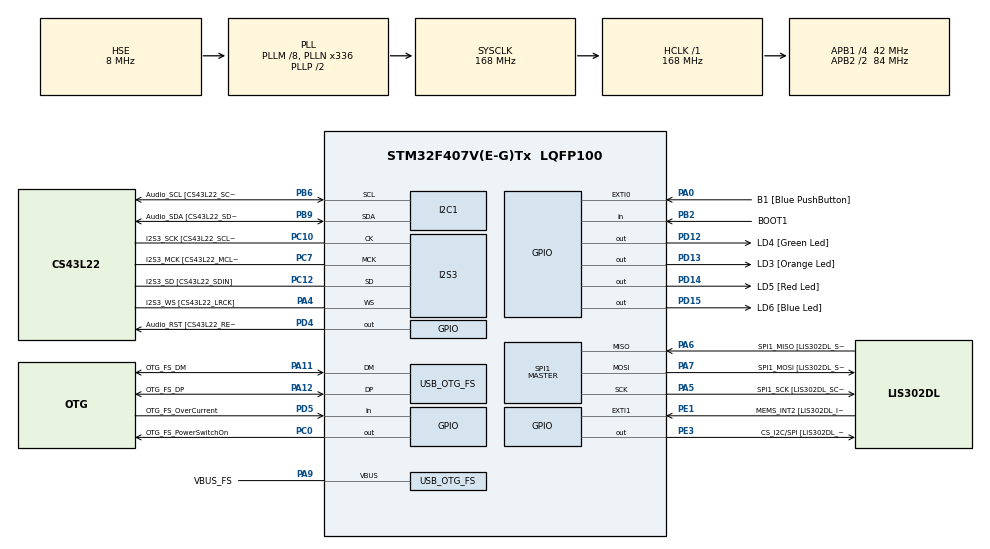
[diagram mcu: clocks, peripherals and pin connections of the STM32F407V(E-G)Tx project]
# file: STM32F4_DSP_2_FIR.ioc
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Dma.Request0=SPI3_TX
Dma.SPI3_TX.0.Direction=DMA_MEMORY_TO_PERIPH
Dma.SPI3_TX.0.FIFOMode=DMA_FIFOMODE_DISABLE
Dma.SPI3_TX.0.Instance=DMA1_Stream5
Dma.SPI3_TX.0.MemDataAlignment=DMA_MDATAALIGN_HALFWORD
Dma.SPI3_TX.0.MemInc=DMA_MINC_ENABLE
Dma.SPI3_TX.0.Mode=DMA_NORMAL
Dma.SPI3_TX.0.PeriphDataAlignment=DMA_PDATAALIGN_HALFWORD
Dma.SPI3_TX.0.PeriphInc=DMA_PINC_DISABLE
Dma.SPI3_TX.0.Priority=DMA_PRIORITY_HIGH
I2S3.AudioFreq-Half_Duplex_Master=I2S_AUDIOFREQ_96K
I2S3.ErrorAudioFreq=-2.34 %
I2S3.ErrorAudioFreq-Half_Duplex_Master=0.8 %
I2S3.FullDuplexMode=I2S_FULLDUPLEXMODE_DISABLE
I2S3.Instance=SPI$Index
I2S3.RealAudioFreq=93.75 KHz
I2S3.RealAudioFreq-Half_Duplex_Master=96.774 KHz
I2S3.VirtualMode=I2S_MODE_MASTER
Mcu.Family=STM32F4
Mcu.Name=STM32F407V(E-G)Tx
Mcu.Package=LQFP100
NVIC.DMA1_Stream5_IRQn=true\:0\:0\:false\:false\:true\:false\:true\:true
NVIC.OTG_FS_IRQn=true\:0\:0\:false\:false\:true\:true\:true\:true
NVIC.PriorityGroup=NVIC_PRIORITYGROUP_0
PA0-WKUP.GPIO_Label=B1 [Blue PushButton]
PA0-WKUP.GPIO_ModeDefaultEXTI=GPIO_MODE_EVT_RISING
PA0-WKUP.GPIO_PuPd=GPIO_NOPULL
PA0-WKUP.Signal=GPXTI0
PA10.GPIO_Label=OTG_FS_ID
PA10.GPIO_Mode=GPIO_MODE_AF_PP
PA10.GPIO_PuPd=GPIO_NOPULL
PA10.GPIO_Speed=GPIO_SPEED_FREQ_LOW
PA10.Signal=USB_OTG_FS_ID
PA11.GPIO_Label=OTG_FS_DM
PA11.GPIO_Mode=GPIO_MODE_AF_PP
PA11.GPIO_PuPd=GPIO_NOPULL
PA11.GPIO_Speed=GPIO_SPEED_FREQ_LOW
PA11.Mode=Host_Only
PA11.Signal=USB_OTG_FS_DM
PA12.GPIO_Label=OTG_FS_DP
PA12.GPIO_Mode=GPIO_MODE_AF_PP
PA12.GPIO_PuPd=GPIO_NOPULL
PA12.GPIO_Speed=GPIO_SPEED_FREQ_LOW
PA12.Mode=Host_Only
PA12.Signal=USB_OTG_FS_DP
PA13.GPIO_Label=SWDIO
PA13.Mode=Serial_Wire
PA13.Signal=SYS_JTMS-SWDIO
PA14.GPIO_Label=SWCLK
PA14.Mode=Serial_Wire
PA14.Signal=SYS_JTCK-SWCLK
PA4.GPIO_Label=I2S3_WS [CS43L22_LRCK]
PA4.GPIO_Mode=GPIO_MODE_AF_PP
PA4.GPIO_PuPd=GPIO_NOPULL
PA4.GPIO_Speed=GPIO_SPEED_FREQ_LOW
PA4.Mode=Half_Duplex_Master
PA4.Signal=I2S3_WS
PA5.GPIO_Label=SPI1_SCK [LIS302DL_SCL/SPC]
PA5.GPIO_Mode=GPIO_MODE_AF_PP
PA5.GPIO_PuPd=GPIO_NOPULL
PA5.GPIO_Speed=GPIO_SPEED_FREQ_LOW
PA5.Mode=Full_Duplex_Master
PA5.Signal=SPI1_SCK
PA6.GPIO_Label=SPI1_MISO [LIS302DL_SDO]
PA6.GPIO_Mode=GPIO_MODE_AF_PP
PA6.GPIO_PuPd=GPIO_NOPULL
PA6.GPIO_Speed=GPIO_SPEED_FREQ_LOW
PA6.Mode=Full_Duplex_Master
PA6.Signal=SPI1_MISO
PA7.GPIO_Label=SPI1_MOSI [LIS302DL_SDA/SDI/SDO]
PA7.GPIO_Mode=GPIO_MODE_AF_PP
PA7.GPIO_PuPd=GPIO_NOPULL
PA7.GPIO_Speed=GPIO_SPEED_FREQ_LOW
PA7.Mode=Full_Duplex_Master
PA7.Signal=SPI1_MOSI
PA9.GPIO_Label=VBUS_FS
PA9.GPIO_Mode=GPIO_MODE_INPUT
PA9.GPIO_PuPd=GPIO_NOPULL
PA9.Mode=Activate_VBUS
PA9.Signal=USB_OTG_FS_VBUS
PB10.GPIO_Label=CLK_IN [MP45DT02_CLK]
PB10.GPIO_Mode=GPIO_MODE_AF_PP
PB10.GPIO_PuPd=GPIO_NOPULL
PB10.GPIO_Speed=GPIO_SPEED_FREQ_LOW
PB10.Signal=I2S2_CK
PB2.GPIO_Label=BOOT1
PB2.GPIO_Mode=GPIO_MODE_INPUT
PB2.GPIO_PuPd=GPIO_NOPULL
PB2.Signal=GPIO_Input
PB3.GPIO_Label=SWO
PB3.Signal=SYS_JTDO-SWO
PB6.GPIO_Label=Audio_SCL [CS43L22_SCL]
PB6.GPIO_Mode=GPIO_MODE_AF_OD
PB6.GPIO_Pu=GPIO_PULLUP
PB6.GPIO_PuPd=GPIO_NOPULL
PB6.GPIO_Speed=GPIO_SPEED_FREQ_LOW
PB6.Mode=I2C
PB6.Signal=I2C1_SCL
PB9.GPIO_Label=Audio_SDA [CS43L22_SDA]
PB9.GPIO_Mode=GPIO_MODE_AF_OD
PB9.GPIO_Pu=GPIO_PULLUP
PB9.GPIO_PuPd=GPIO_NOPULL
PB9.GPIO_Speed=GPIO_SPEED_FREQ_LOW
PB9.Mode=I2C
PB9.Signal=I2C1_SDA
PC0.GPIO_Label=OTG_FS_PowerSwitchOn
PC0.GPIO_PuPd=GPIO_NOPULL
PC0.GPIO_Speed=GPIO_SPEED_FREQ_LOW
PC0.PinState=GPIO_PIN_SET
PC0.Signal=GPIO_Output
PC10.GPIO_Label=I2S3_SCK [CS43L22_SCLK]
PC10.GPIO_Mode=GPIO_MODE_AF_PP
PC10.GPIO_PuPd=GPIO_NOPULL
PC10.GPIO_Speed=GPIO_SPEED_FREQ_LOW
PC10.Mode=Half_Duplex_Master
PC10.Signal=I2S3_CK
PC12.GPIO_Label=I2S3_SD [CS43L22_SDIN]
PC12.GPIO_Mode=GPIO_MODE_AF_PP
PC12.GPIO_PuPd=GPIO_NOPULL
PC12.GPIO_Speed=GPIO_SPEED_FREQ_LOW
PC12.Mode=Half_Duplex_Master
PC12.Signal=I2S3_SD
PC14-OSC32_IN.GPIO_Label=PC14-OSC32_IN
PC14-OSC32_IN.Mode=LSE-External-Oscillator
PC14-OSC32_IN.Signal=RCC_OSC32_IN
PC15-OSC32_OUT.GPIO_Label=PC15-OSC32_OUT
PC15-OSC32_OUT.Mode=LSE-External-Oscillator
PC15-OSC32_OUT.Signal=RCC_OSC32_OUT
PC3.GPIO_Label=PDM_OUT [MP45DT02_DOUT]
PC3.GPIO_Mode=GPIO_MODE_AF_PP
PC3.GPIO_PuPd=GPIO_NOPULL
PC3.GPIO_Speed=GPIO_SPEED_FREQ_LOW
PC3.Signal=I2S2_SD
PC7.GPIO_Label=I2S3_MCK [CS43L22_MCLK]
PC7.GPIO_Mode=GPIO_MODE_AF_PP
PC7.GPIO_PuPd=GPIO_NOPULL
PC7.GPIO_Speed=GPIO_SPEED_FREQ_LOW
PC7.Mode=Master_Clock_Activated
PC7.Signal=I2S3_MCK
PD12.GPIO_Label=LD4 [Green Led]
PD12.GPIO_PuPd=GPIO_NOPULL
PD12.GPIO_Speed=GPIO_SPEED_FREQ_LOW
PD12.Signal=GPIO_Output
PD13.GPIO_Label=LD3 [Orange Led]
PD13.GPIO_PuPd=GPIO_NOPULL
PD13.GPIO_Speed=GPIO_SPEED_FREQ_LOW
PD13.Signal=GPIO_Output
PD14.GPIO_Label=LD5 [Red Led]
PD14.GPIO_PuPd=GPIO_NOPULL
PD14.GPIO_Speed=GPIO_SPEED_FREQ_LOW
PD14.Signal=GPIO_Output
PD15.GPIO_Label=LD6 [Blue Led]
PD15.GPIO_PuPd=GPIO_NOPULL
PD15.GPIO_Speed=GPIO_SPEED_FREQ_LOW
PD15.Signal=GPIO_Output
PD4.GPIO_Label=Audio_RST [CS43L22_RESET]
PD4.GPIO_PuPd=GPIO_NOPULL
PD4.GPIO_Speed=GPIO_SPEED_FREQ_LOW
PD4.Signal=GPIO_Output
PD5.GPIO_Label=OTG_FS_OverCurrent
PD5.GPIO_Mode=GPIO_MODE_INPUT
PD5.GPIO_PuPd=GPIO_NOPULL
PD5.Signal=GPIO_Input
PE1.GPIO_Label=MEMS_INT2 [LIS302DL_INT2]
PE1.GPIO_ModeDefaultEXTI=GPIO_MODE_EVT_RISING
PE1.GPIO_PuPd=GPIO_NOPULL
PE1.Signal=GPXTI1
PE3.GPIO_Label=CS_I2C/SPI [LIS302DL_CS_I2C/SPI]
PE3.GPIO_PuPd=GPIO_NOPULL
PE3.GPIO_Speed=GPIO_SPEED_FREQ_LOW
PE3.Signal=GPIO_Output
PH0-OSC_IN.GPIO_Label=PH0-OSC_IN
PH0-OSC_IN.Mode=HSE-External-Oscillator
PH0-OSC_IN.Signal=RCC_OSC_IN
PH1-OSC_OUT.GPIO_Label=PH1-OSC_OUT
PH1-OSC_OUT.Mode=HSE-External-Oscillator
PH1-OSC_OUT.Signal=RCC_OSC_OUT
ProjectManager.HeapSize=0x200
ProjectManager.StackSize=0x400
ProjectManager.TargetToolchain=STM32CubeIDE
RCC.48MHZClocksFreq_Value=48000000
RCC.AHBFreq_Value=168000000
RCC.APB1CLKDivider=RCC_HCLK_DIV4
RCC.APB1Freq_Value=42000000
RCC.APB1TimFreq_Value=84000000
RCC.APB2CLKDivider=RCC_HCLK_DIV2
RCC.APB2Freq_Value=84000000
RCC.APB2TimFreq_Value=168000000
RCC.CortexFreq_Value=168000000
RCC.HCLKFreq_Value=168000000
RCC.HSE_VALUE=8000000
RCC.HSI_VALUE=16000000
RCC.PLLM=8
RCC.PLLN=336
RCC.PLLQ=7
RCC.SYSCLKFreq_VALUE=168000000
RCC.SYSCLKSource=RCC_SYSCLKSOURCE_PLLCLK
RCC.VCOOutputFreq_Value=336000000
SPI1.BaudRatePrescaler-Full_Duplex_Master=SPI_BAUDRATEPRESCALER_2
SPI1.CalculateBaudRate-Full_Duplex_Master=42.0 MBits/s
SPI1.Direction=SPI_DIRECTION_2LINES
SPI1.Mode=SPI_MODE_MASTER
SPI1.Mode-Full_Duplex_Master=SPI_MODE_MASTER
SPI1.VirtualType=VM_MASTER
USB_HOST.BSP.number=1
USB_HOST.USBH_HandleTypeDef-CDC_FS=hUsbHostFS
USB_HOST.VirtualModeFS=Cdc
USB_HOST0.BSP.STBoard=false
USB_HOST0.BSP.api=Unknown
USB_HOST0.BSP.instance=PC0
USB_HOST0.BSP.ip=GPIO
USB_HOST0.BSP.mode=Output
USB_HOST0.BSP.name=Drive_VBUS_FS
USB_HOST0.BSP.solution=PC0
USB_OTG_FS.VirtualMode=Host_Only
USB_OTG_FS.phy_itface=HCD_PHY_EMBEDDED
VP_USB_HOST_VS_USB_HOST_CDC_FS.Mode=CDC_FS
board=STM32F407G-DISC1

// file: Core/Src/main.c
/* USER CODE BEGIN Header */
/**
  ******************************************************************************
  * @file           : main.c
  * @brief          : Main program body
  ******************************************************************************
  * @attention
  *
  * Copyright (c) 2023 STMicroelectronics.
  * All rights reserved.
  *
  * This software is licensed under terms that can be found in the LICENSE file
  * in the root directory of this software component.
  * If no LICENSE file comes with this software, it is provided AS-IS.
  *
  ******************************************************************************
  */
/* USER CODE END Header */
#include "main.h"
#include "usb_host.h"

/* USER CODE BEGIN Includes */
#include "stm32f4_discovery_audio.h"
#include "arm_math.h"

/* USER CODE END Includes */

/* USER CODE BEGIN PD */
#define SAMPLING_FREQ 48000.0		//BSP_audio_out sampling frequency

	//--- FIR related PD ---
#define TEST_LENGTH_SAMPLES	1024	//Test signal length
									//Turi dalintis is BLOCK_SIZE!
#define BLOCK_SIZE		32			//Block size/per one cycle
#define NUM_TAPS		29			//Filtro eile
	//--- FIR related PD END ---

/* USER CODE END PD */

I2C_HandleTypeDef hi2c1;

I2S_HandleTypeDef hi2s3;
DMA_HandleTypeDef hdma_spi3_tx;

SPI_HandleTypeDef hspi1;

/* USER CODE BEGIN PV */
static int16_t OutputBuffer[TEST_LENGTH_SAMPLES*2];			//Output Buffer, left+right channels

//--- FIR related PV ---
static float32_t *inputF32, *outputF32;
static float32_t testInput_f32[TEST_LENGTH_SAMPLES];		//FIR input signal buffer
static float32_t testOutput_f32[TEST_LENGTH_SAMPLES];		//FIR output signal buffer
static float32_t firStateF32[BLOCK_SIZE + NUM_TAPS -1];		//State buffer

const float32_t firCoeffs32[NUM_TAPS] = {
  -0.0018225230f, -0.0015879294f, +0.0000000000f, +0.0036977508f, +0.0080754303f, +0.0085302217f, -0.0000000000f, -0.0173976984f,
  -0.0341458607f, -0.0333591565f, +0.0000000000f, +0.0676308395f, +0.1522061835f, +0.2229246956f, +0.2504960933f, +0.2229246956f,
  +0.1522061835f, +0.0676308395f, +0.0000000000f, -0.0333591565f, -0.0341458607f, -0.0173976984f, -0.0000000000f, +0.0085302217f,
  +0.0080754303f, +0.0036977508f, +0.0000000000f, -0.0015879294f, -0.0018225230f
};

uint32_t blockSize = BLOCK_SIZE;
uint32_t numBlocks = TEST_LENGTH_SAMPLES/BLOCK_SIZE;
	//--- FIR related PV END ---

/* USER CODE END PV */

void SystemClock_Config(void);
static void MX_GPIO_Init(void);
static void MX_DMA_Init(void);
static void MX_I2C1_Init(void);
static void MX_I2S3_Init(void);
static void MX_SPI1_Init(void);
void MX_USB_HOST_Process(void);

/* USER CODE BEGIN 0 */

void MovingAverage_filter(float *inputArray, uint32_t inputSize, uint32_t window, float *outputArray)
{
	float Acc = 0; //Accumulator to sum
	for(uint32_t i = 0; i < inputSize; i++)
	{
		//Add new sample to Acc
		Acc += inputArray[i];
		//Substract oldest sample
		if(i >= window)
			Acc -= inputArray[i - window];
		//Calculate output sample
		outputArray[i] = Acc / window;
	}
}

// White noise generator for noise testing
float scaled_rand(void)
{
    static int32_t a = 100001;
    a = (a * 125) % 2796203;

    // Scale the output to the desired range [-30000*0.25, 30000*0.25]
    float scaled_output = ((float)(a % 60001) - 30000.0) * 0.1;
    return scaled_output;
}

/* USER CODE END 0 */

int main(void)
{
  /* USER CODE BEGIN 1 */
		//--- FIR variables ---
		arm_fir_instance_f32 FiltrasStruct;

		//Initialize input and output buffer pointers
		inputF32 = &testInput_f32[0];
		outputF32 = &testOutput_f32[0];

		//Call FIR init function to initialize the instance structure
		//arm_fir_init_f32(&FiltrasStruct, NUM_TAPS, (float32_t *)&firCoeffs32[0], &firStateF32[0], blockSize);

  /* USER CODE END 1 */

  /* MCU Configuration--------------------------------------------------------*/

  /* Reset of all peripherals, Initializes the Flash interface and the Systick. */
  HAL_Init();

  /* Configure the system clock */
  SystemClock_Config();

  /* Initialize all configured peripherals */
  MX_GPIO_Init();
  MX_DMA_Init();
  MX_I2C1_Init();
  MX_I2S3_Init();
  MX_SPI1_Init();
  MX_USB_HOST_Init();
  /* USER CODE BEGIN 2 */
  	  //Test - GreenLED On
  	  	HAL_GPIO_WritePin(LD4_GPIO_Port, LD4_Pin, GPIO_PIN_SET);

  	  /*** Initialize the Audio codec and all related peripherals (I2S, I2C, IOExpander, IOs...) ***/
        if(BSP_AUDIO_OUT_Init(OUTPUT_DEVICE_AUTO, 80, SAMPLING_FREQ) != AUDIO_OK)
        {
        	Error_Handler();
        }

      /*** Test Signal generation ***/
        for(int index = 0; index < TEST_LENGTH_SAMPLES; index++)
        {
          // sin - 1kHz + 5kHz + 10 kHz
      	  //testInput_f32[index] = ( 30000*sin(21*2*PI*index/TEST_LENGTH_SAMPLES) + 20000*sin(109*2*PI*index/TEST_LENGTH_SAMPLES) + 15000*sin(220*2*PI*index/TEST_LENGTH_SAMPLES) );

      	 // square signal
      	 if (index < TEST_LENGTH_SAMPLES/2) {
      	  	testInput_f32[index] = -30000 + scaled_rand();
      	 } else {
      		testInput_f32[index] = 30000 + scaled_rand();
      	 }

        }

      //Call the FIR process function for every blockSize samples
//        for(int i=0; i<numBlocks; i++)
//        {
//      	  arm_fir_f32(&FiltrasStruct, inputF32 + (i * blockSize), outputF32 + (i * blockSize), blockSize);
//        }

        //Test MA filter
        MovingAverage_filter(testInput_f32, TEST_LENGTH_SAMPLES, 10, testOutput_f32);

      /*** Fill Output Buffer ***/
        for(int i = 0; i < TEST_LENGTH_SAMPLES; i++)
        {
      	  //OutputBuffer[i<<1] = (int16_t)testInput_f32[i];			//Left channel - test signal
      	  OutputBuffer[(i<<1)+1] = (int16_t)testOutput_f32[i];		//Right channel - after FIR
        }

      /*** Start Audio play ***/
        BSP_AUDIO_OUT_Play((uint16_t*)&OutputBuffer[0], TEST_LENGTH_SAMPLES*2);

        //GreenLED Off
        HAL_GPIO_WritePin(LD4_GPIO_Port, LD4_Pin, GPIO_PIN_RESET);

  /* USER CODE END 2 */
  /* USER CODE BEGIN WHILE */
  while (1)
  {
	  HAL_GPIO_TogglePin(LD4_GPIO_Port, LD4_Pin);
	  HAL_Delay(250);

    /* USER CODE END WHILE */
    MX_USB_HOST_Process();

  }
}

void SystemClock_Config(void)
{
  RCC_OscInitTypeDef RCC_OscInitStruct = {0};
  RCC_ClkInitTypeDef RCC_ClkInitStruct = {0};

  /** Configure the main internal regulator output voltage
  */
  __HAL_RCC_PWR_CLK_ENABLE();
  __HAL_PWR_VOLTAGESCALING_CONFIG(PWR_REGULATOR_VOLTAGE_SCALE1);

  /** Initializes the RCC Oscillators according to the specified parameters
  * in the RCC_OscInitTypeDef structure.
  */
  RCC_OscInitStruct.OscillatorType = RCC_OSCILLATORTYPE_HSE;
  RCC_OscInitStruct.HSEState = RCC_HSE_ON;
  RCC_OscInitStruct.PLL.PLLState = RCC_PLL_ON;
  RCC_OscInitStruct.PLL.PLLSource = RCC_PLLSOURCE_HSE;
  RCC_OscInitStruct.PLL.PLLM = 8;
  RCC_OscInitStruct.PLL.PLLN = 336;
  RCC_OscInitStruct.PLL.PLLP = RCC_PLLP_DIV2;
  RCC_OscInitStruct.PLL.PLLQ = 7;
  if (HAL_RCC_OscConfig(&RCC_OscInitStruct) != HAL_OK)
  {
    Error_Handler();
  }

  /** Initializes the CPU, AHB and APB buses clocks
  */
  RCC_ClkInitStruct.ClockType = RCC_CLOCKTYPE_HCLK|RCC_CLOCKTYPE_SYSCLK
                              |RCC_CLOCKTYPE_PCLK1|RCC_CLOCKTYPE_PCLK2;
  RCC_ClkInitStruct.SYSCLKSource = RCC_SYSCLKSOURCE_PLLCLK;
  RCC_ClkInitStruct.AHBCLKDivider = RCC_SYSCLK_DIV1;
  RCC_ClkInitStruct.APB1CLKDivider = RCC_HCLK_DIV4;
  RCC_ClkInitStruct.APB2CLKDivider = RCC_HCLK_DIV2;

  if (HAL_RCC_ClockConfig(&RCC_ClkInitStruct, FLASH_LATENCY_5) != HAL_OK)
  {
    Error_Handler();
  }
}

static void MX_I2C1_Init(void)
{

  hi2c1.Instance = I2C1;
  hi2c1.Init.ClockSpeed = 100000;
  hi2c1.Init.DutyCycle = I2C_DUTYCYCLE_2;
  hi2c1.Init.OwnAddress1 = 0;
  hi2c1.Init.AddressingMode = I2C_ADDRESSINGMODE_7BIT;
  hi2c1.Init.DualAddressMode = I2C_DUALADDRESS_DISABLE;
  hi2c1.Init.OwnAddress2 = 0;
  hi2c1.Init.GeneralCallMode = I2C_GENERALCALL_DISABLE;
  hi2c1.Init.NoStretchMode = I2C_NOSTRETCH_DISABLE;
  if (HAL_I2C_Init(&hi2c1) != HAL_OK)
  {
    Error_Handler();
  }

}

static void MX_I2S3_Init(void)
{

  hi2s3.Instance = SPI3;
  hi2s3.Init.Mode = I2S_MODE_MASTER_TX;
  hi2s3.Init.Standard = I2S_STANDARD_PHILIPS;
  hi2s3.Init.DataFormat = I2S_DATAFORMAT_16B;
  hi2s3.Init.MCLKOutput = I2S_MCLKOUTPUT_ENABLE;
  hi2s3.Init.AudioFreq = I2S_AUDIOFREQ_96K;
  hi2s3.Init.CPOL = I2S_CPOL_LOW;
  hi2s3.Init.ClockSource = I2S_CLOCK_PLL;
  hi2s3.Init.FullDuplexMode = I2S_FULLDUPLEXMODE_DISABLE;
  if (HAL_I2S_Init(&hi2s3) != HAL_OK)
  {
    Error_Handler();
  }

}

static void MX_SPI1_Init(void)
{

  /* SPI1 parameter configuration*/
  hspi1.Instance = SPI1;
  hspi1.Init.Mode = SPI_MODE_MASTER;
  hspi1.Init.Direction = SPI_DIRECTION_2LINES;
  hspi1.Init.DataSize = SPI_DATASIZE_8BIT;
  hspi1.Init.CLKPolarity = SPI_POLARITY_LOW;
  hspi1.Init.CLKPhase = SPI_PHASE_1EDGE;
  hspi1.Init.NSS = SPI_NSS_SOFT;
  hspi1.Init.BaudRatePrescaler = SPI_BAUDRATEPRESCALER_2;
  hspi1.Init.FirstBit = SPI_FIRSTBIT_MSB;
  hspi1.Init.TIMode = SPI_TIMODE_DISABLE;
  hspi1.Init.CRCCalculation = SPI_CRCCALCULATION_DISABLE;
  hspi1.Init.CRCPolynomial = 10;
  if (HAL_SPI_Init(&hspi1) != HAL_OK)
  {
    Error_Handler();
  }

}

static void MX_DMA_Init(void)
{

  /* DMA controller clock enable */
  __HAL_RCC_DMA1_CLK_ENABLE();

  /* DMA interrupt init */
  /* DMA1_Stream5_IRQn interrupt configuration */
  HAL_NVIC_SetPriority(DMA1_Stream5_IRQn, 0, 0);
  HAL_NVIC_EnableIRQ(DMA1_Stream5_IRQn);

}

static void MX_GPIO_Init(void)
{
  GPIO_InitTypeDef GPIO_InitStruct = {0};

  /* GPIO Ports Clock Enable */
  __HAL_RCC_GPIOE_CLK_ENABLE();
  __HAL_RCC_GPIOC_CLK_ENABLE();
  __HAL_RCC_GPIOH_CLK_ENABLE();
  __HAL_RCC_GPIOA_CLK_ENABLE();
  __HAL_RCC_GPIOB_CLK_ENABLE();
  __HAL_RCC_GPIOD_CLK_ENABLE();

  /*Configure GPIO pin Output Level */
  HAL_GPIO_WritePin(CS_I2C_SPI_GPIO_Port, CS_I2C_SPI_Pin, GPIO_PIN_RESET);

  /*Configure GPIO pin Output Level */
  HAL_GPIO_WritePin(OTG_FS_PowerSwitchOn_GPIO_Port, OTG_FS_PowerSwitchOn_Pin, GPIO_PIN_SET);

  /*Configure GPIO pin Output Level */
  HAL_GPIO_WritePin(GPIOD, LD4_Pin|LD3_Pin|LD5_Pin|LD6_Pin
                          |Audio_RST_Pin, GPIO_PIN_RESET);

  /*Configure GPIO pin : CS_I2C_SPI_Pin */
  GPIO_InitStruct.Pin = CS_I2C_SPI_Pin;
  GPIO_InitStruct.Mode = GPIO_MODE_OUTPUT_PP;
  GPIO_InitStruct.Pull = GPIO_NOPULL;
  GPIO_InitStruct.Speed = GPIO_SPEED_FREQ_LOW;
  HAL_GPIO_Init(CS_I2C_SPI_GPIO_Port, &GPIO_InitStruct);

  /*Configure GPIO pin : OTG_FS_PowerSwitchOn_Pin */
  GPIO_InitStruct.Pin = OTG_FS_PowerSwitchOn_Pin;
  GPIO_InitStruct.Mode = GPIO_MODE_OUTPUT_PP;
  GPIO_InitStruct.Pull = GPIO_NOPULL;
  GPIO_InitStruct.Speed = GPIO_SPEED_FREQ_LOW;
  HAL_GPIO_Init(OTG_FS_PowerSwitchOn_GPIO_Port, &GPIO_InitStruct);

  /*Configure GPIO pin : PDM_OUT_Pin */
  GPIO_InitStruct.Pin = PDM_OUT_Pin;
  GPIO_InitStruct.Mode = GPIO_MODE_AF_PP;
  GPIO_InitStruct.Pull = GPIO_NOPULL;
  GPIO_InitStruct.Speed = GPIO_SPEED_FREQ_LOW;
  GPIO_InitStruct.Alternate = GPIO_AF5_SPI2;
  HAL_GPIO_Init(PDM_OUT_GPIO_Port, &GPIO_InitStruct);

  /*Configure GPIO pin : B1_Pin */
  GPIO_InitStruct.Pin = B1_Pin;
  GPIO_InitStruct.Mode = GPIO_MODE_EVT_RISING;
  GPIO_InitStruct.Pull = GPIO_NOPULL;
  HAL_GPIO_Init(B1_GPIO_Port, &GPIO_InitStruct);

  /*Configure GPIO pin : BOOT1_Pin */
  GPIO_InitStruct.Pin = BOOT1_Pin;
  GPIO_InitStruct.Mode = GPIO_MODE_INPUT;
  GPIO_InitStruct.Pull = GPIO_NOPULL;
  HAL_GPIO_Init(BOOT1_GPIO_Port, &GPIO_InitStruct);

  /*Configure GPIO pin : CLK_IN_Pin */
  GPIO_InitStruct.Pin = CLK_IN_Pin;
  GPIO_InitStruct.Mode = GPIO_MODE_AF_PP;
  GPIO_InitStruct.Pull = GPIO_NOPULL;
  GPIO_InitStruct.Speed = GPIO_SPEED_FREQ_LOW;
  GPIO_InitStruct.Alternate = GPIO_AF5_SPI2;
  HAL_GPIO_Init(CLK_IN_GPIO_Port, &GPIO_InitStruct);

  /*Configure GPIO pins : LD4_Pin LD3_Pin LD5_Pin LD6_Pin
                           Audio_RST_Pin */
  GPIO_InitStruct.Pin = LD4_Pin|LD3_Pin|LD5_Pin|LD6_Pin
                          |Audio_RST_Pin;
  GPIO_InitStruct.Mode = GPIO_MODE_OUTPUT_PP;
  GPIO_InitStruct.Pull = GPIO_NOPULL;
  GPIO_InitStruct.Speed = GPIO_SPEED_FREQ_LOW;
  HAL_GPIO_Init(GPIOD, &GPIO_InitStruct);

  /*Configure GPIO pin : OTG_FS_OverCurrent_Pin */
  GPIO_InitStruct.Pin = OTG_FS_OverCurrent_Pin;
  GPIO_InitStruct.Mode = GPIO_MODE_INPUT;
  GPIO_InitStruct.Pull = GPIO_NOPULL;
  HAL_GPIO_Init(OTG_FS_OverCurrent_GPIO_Port, &GPIO_InitStruct);

  /*Configure GPIO pin : MEMS_INT2_Pin */
  GPIO_InitStruct.Pin = MEMS_INT2_Pin;
  GPIO_InitStruct.Mode = GPIO_MODE_EVT_RISING;
  GPIO_InitStruct.Pull = GPIO_NOPULL;
  HAL_GPIO_Init(MEMS_INT2_GPIO_Port, &GPIO_InitStruct);

}

/* USER CODE BEGIN 4 */

	/*** Back to Buffer beginning ***/
	void BSP_AUDIO_OUT_TransferComplete_CallBack(void)
	{
	  BSP_AUDIO_OUT_ChangeBuffer((uint16_t*)&OutputBuffer[0], TEST_LENGTH_SAMPLES*2);
	  //Toggle OrangeLED
	  HAL_GPIO_TogglePin(LD3_GPIO_Port, LD3_Pin);
	}

/* USER CODE END 4 */

void Error_Handler(void)
{
  /* USER CODE BEGIN Error_Handler_Debug */
  /* User can add his own implementation to report the HAL error return state */
	//RedLED On in case of Error
	HAL_GPIO_WritePin(LD5_GPIO_Port, LD5_Pin, GPIO_PIN_SET);
  __disable_irq();
  while (1)
  {
  }
  /* USER CODE END Error_Handler_Debug */
}
